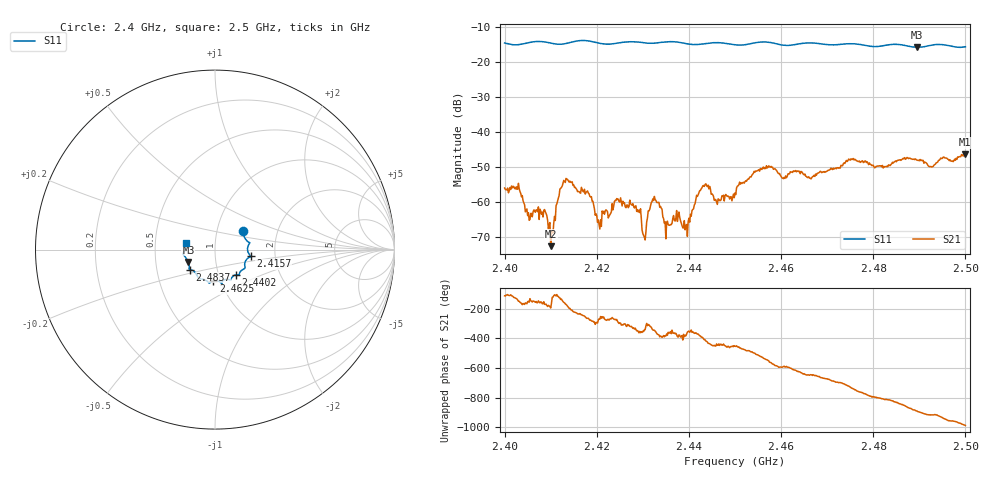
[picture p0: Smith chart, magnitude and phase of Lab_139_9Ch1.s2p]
# Hz S RI R 50
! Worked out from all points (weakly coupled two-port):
!   601 points, 2.4 GHz to 2.5 GHz, reference 50 ohm
!   highest |S21| = -46.30 dB at 2.4998 GHz (marker M1); lowest = -72.6 dB at 2.41 GHz (marker M2)
!   lowest |S11| = -15.7 dB at 2.4895 GHz (marker M3), VSWR 1.39, Z = 36.8 - j5.17 ohm
!   |S11| at or under -10 dB: start of sweep to end of sweep
!   S12 and S22 are empty: the file has one direction only
!   S11 on the Smith chart (normalised r, x): 2.4 GHz: 1.34, +0.29; 2.4157 GHz: 1.49, -0.11; 2.4402 GHz: 1.20, -0.35; 2.4625 GHz: 0.92, -0.34; 2.4837 GHz: 0.74, -0.17; 2.5 GHz: 0.72, +0.05
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2.4e9  0.1568 0.1057  -0.000602 -0.00147  0 0  0 0
2.41e9  0.1865 0.0251  -0.000227 6e-05  0 0  0 0
2.4125e9  0.1818 -0.00609  -0.00135 -0.00102  0 0  0 0
2.415667e9  0.1983 -0.0368  -0.001 0.00114  0 0  0 0
2.416667e9  0.2011 -0.04  -0.000785 0.00143  0 0  0 0
2.4205e9  0.1811 -0.0495  -2.09e-05 0.000481  0 0  0 0
2.427667e9  0.1682 -0.102  0.000733 0.000532  0 0  0 0
2.430333e9  0.153 -0.1126  0.000299 0.0001  0 0  0 0
2.432e9  0.1405 -0.1234  0.000932 0.000415  0 0  0 0
2.433333e9  0.1359 -0.1333  0.000964 -0.000246  0 0  0 0
2.435167e9  0.1345 -0.1426  0.0005 -8.78e-05  0 0  0 0
2.440167e9  0.1147 -0.1406  0.000517 1.15e-05  0 0  0 0
2.443167e9  0.0919 -0.1585  0.00126 -0.00118  0 0  0 0
2.45e9  0.064 -0.166  -8.14e-05 -0.00135  0 0  0 0
2.456e9  0.0385 -0.1914  -0.00301 -0.000624  0 0  0 0
2.4625e9  -0.00981 -0.1766  -0.000903 0.0025  0 0  0 0
2.466667e9  -0.0332 -0.1864  0.000646 0.00215  0 0  0 0
2.483333e9  -0.1382 -0.112  -0.000342 -0.0034  0 0  0 0
2.483667e9  -0.1401 -0.1116  -0.000397 -0.00331  0 0  0 0
2.4895e9  -0.1483 -0.0684  -0.00394 -0.000611  0 0  0 0
2.499833e9  -0.1627 0.0335  -0.000311 0.00483  0 0  0 0
2.5e9  -0.1628 0.0363  -0.000113 0.00465  0 0  0 0
